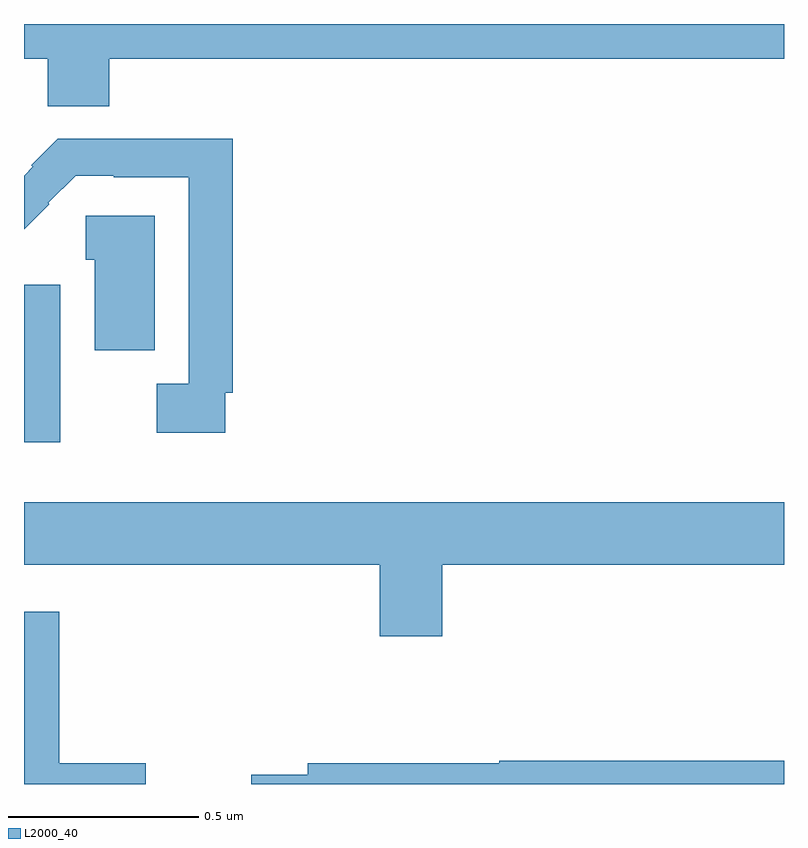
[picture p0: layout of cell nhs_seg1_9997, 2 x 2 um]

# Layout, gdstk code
import gdstk
lib = gdstk.Library(unit=1e-6, precision=1e-09)
def R(c, l, rs):  # rectangles x0, y0, x1, y1
    for r in rs: c.add(gdstk.rectangle(r[:2], r[2:], *l))
def P(c, l, *ps):  # polygons
    for p in ps: c.add(gdstk.Polygon(p, *l))
L2000_40 = (2000, 40)

nhs_seg1_9997 = lib.new_cell('nhs_seg1_9997')
R(nhs_seg1_9997, L2000_40, [(236,508.098,236.095,508.513)])
P(nhs_seg1_9997, L2000_40, [(236.224,509.108),(238,509.108),(238,509.199),(236,509.199),(236,509.108),(236.063,509.108),(236.063,508.982),(236.224,508.982)],
  [(236.529,508.228),(236.549,508.228),(236.549,508.897),(236.089,508.897),(236.019,508.827),(236.023,508.823),(236,508.8),(236,508.659),(236.067,508.725),(236.064,508.728),(236.136,508.8),(236.236,508.8),(236.236,508.796),(236.433,508.796),(236.433,508.252),(236.349,508.252),(236.349,508.124),(236.529,508.124)],
  [(236.344,508.695),(236.163,508.695),(236.163,508.578),(236.186,508.578),(236.186,508.34),(236.344,508.34)],
  [(237.1,507.776),(238,507.776),(238,507.94),(236,507.94),(236,507.776),(236.936,507.776),(236.936,507.588),(237.1,507.588)],
  [(236.32,507.253),(236.093,507.253),(236.093,507.652),(236,507.652),(236,507.199),(236.32,507.199)],
  [(238,507.26),(237.251,507.26),(237.251,507.253),(236.747,507.253),(236.747,507.224),(236.598,507.224),(236.598,507.199),(238,507.199)])

lib.write_gds('nhs_seg1_9997.gds')
